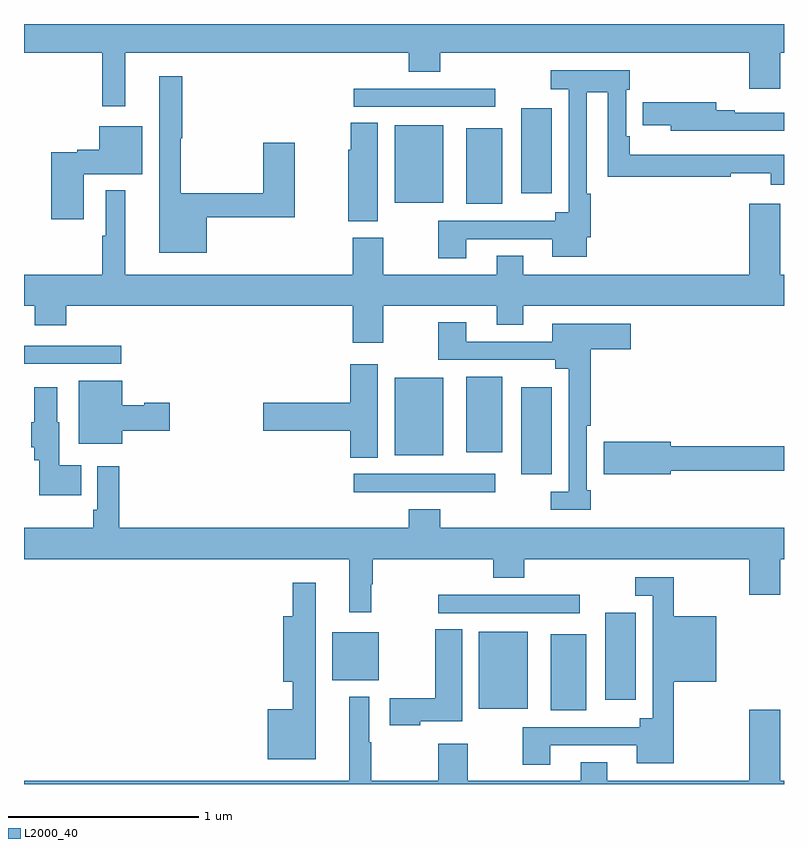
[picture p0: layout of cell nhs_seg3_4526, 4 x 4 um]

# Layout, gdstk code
import gdstk
lib = gdstk.Library(unit=1e-6, precision=1e-09)
def R(c, l, rs):  # rectangles x0, y0, x1, y1
    for r in rs: c.add(gdstk.rectangle(r[:2], r[2:], *l))
def P(c, l, *ps):  # polygons
    for p in ps: c.add(gdstk.Polygon(p, *l))
L2000_40 = (2000, 40)

nhs_seg3_4526 = lib.new_cell('nhs_seg3_4526')
R(nhs_seg3_4526, L2000_40, [(355.772,698.789,355.96,699.187), (355.394,698.795,355.651,699.202), (356.06,698.844,356.221,699.301), (354.623,698.945,354.868,699.199), (355.179,699.3,355.924,699.396), (354.735,699.936,355.48,700.032), (355.616,700.031,355.777,700.489), (354.95,700.13,355.207,700.537), (355.328,700.145,355.516,700.543), (353,700.611,353.512,700.707), (355.328,701.453,355.516,701.851), (354.95,701.459,355.207,701.866), (355.616,701.508,355.777,701.956), (354.735,701.964,355.48,702.06)])
P(nhs_seg3_4526, L2000_40, [(353.533,702.248),(355.025,702.248),(355.025,702.149),(355.19,702.149),(355.19,702.248),(356.816,702.248),(356.816,702.06),(356.98,702.06),(356.98,702.248),(357,702.248),(357,702.4),(353,702.4),(353,702.248),(353.412,702.248),(353.412,701.967),(353.533,701.967)],
  [(355.327,701.268),(355.781,701.268),(355.781,701.174),(355.963,701.174),(355.963,701.278),(355.982,701.278),(355.982,701.506),(355.962,701.506),(355.962,702.04),(356.073,702.04),(356.073,701.596),(356.72,701.596),(356.72,701.615),(356.93,701.615),(356.93,701.554),(357,701.554),(357,701.712),(356.189,701.712),(356.189,701.809),(356.169,701.809),(356.169,702.053),(356.189,702.053),(356.189,702.156),(355.773,702.156),(355.773,702.056),(355.866,702.056),(355.866,701.41),(355.796,701.41),(355.796,701.364),(355.18,701.364),(355.18,701.166),(355.327,701.166)],
  [(353.962,701.382),(354.424,701.382),(354.424,701.776),(354.259,701.776),(354.259,701.51),(353.825,701.51),(353.825,701.799),(353.833,701.799),(353.833,702.124),(353.711,702.124),(353.711,701.195),(353.962,701.195)],
  [(357,701.934),(356.74,701.934),(356.74,701.947),(356.644,701.947),(356.644,701.989),(356.256,701.989),(356.256,701.867),(356.405,701.867),(356.405,701.838),(357,701.838)],
  [(354.862,701.879),(354.721,701.879),(354.721,701.739),(354.707,701.739),(354.707,701.363),(354.862,701.363)],
  [(353.314,701.609),(353.623,701.609),(353.623,701.863),(353.396,701.863),(353.396,701.738),(353.28,701.738),(353.28,701.725),(353.144,701.725),(353.144,701.373),(353.314,701.373)],
  [(354.891,700.916),(355.487,700.916),(355.487,700.817),(355.627,700.817),(355.627,700.916),(357,700.916),(357,701.08),(356.98,701.08),(356.98,701.455),(356.816,701.455),(356.816,701.08),(355.627,701.08),(355.627,701.179),(355.487,701.179),(355.487,701.08),(354.891,701.08),(354.891,701.275),(354.731,701.275),(354.731,701.08),(353.533,701.08),(353.533,701.524),(353.429,701.524),(353.429,701.285),(353.412,701.285),(353.412,701.08),(353,701.08),(353,700.916),(353.057,700.916),(353.057,700.814),(353.222,700.814),(353.222,700.916),(354.731,700.916),(354.731,700.722),(354.891,700.722)],
  [(355.982,699.946),(355.962,699.946),(355.962,700.285),(355.982,700.285),(355.982,700.688),(356.194,700.688),(356.194,700.822),(355.781,700.822),(355.781,700.728),(355.327,700.728),(355.327,700.831),(355.18,700.831),(355.18,700.632),(355.796,700.632),(355.796,700.586),(355.866,700.586),(355.866,699.939),(355.773,699.939),(355.773,699.843),(355.982,699.843)],
  [(354.862,700.609),(354.716,700.609),(354.716,700.406),(354.258,700.406),(354.258,700.259),(354.716,700.259),(354.716,700.117),(354.862,700.117)],
  [(353.518,700.259),(353.767,700.259),(353.767,700.406),(353.634,700.406),(353.634,700.393),(353.518,700.393),(353.518,700.522),(353.288,700.522),(353.288,700.19),(353.518,700.19)],
  [(353.3,700.078),(353.185,700.078),(353.185,700.305),(353.176,700.305),(353.176,700.489),(353.054,700.489),(353.054,700.305),(353.039,700.305),(353.039,700.173),(353.054,700.173),(353.054,700.104),(353.081,700.104),(353.081,699.92),(353.3,699.92)],
  [(356.404,700.05),(357,700.05),(357,700.178),(356.404,700.178),(356.404,700.202),(356.052,700.202),(356.052,700.031),(356.404,700.031)],
  [(354.827,699.452),(354.835,699.452),(354.835,699.584),(355.469,699.584),(355.469,699.485),(355.634,699.485),(355.634,699.584),(356.816,699.584),(356.816,699.396),(356.98,699.396),(356.98,699.584),(357,699.584),(357,699.748),(355.19,699.748),(355.19,699.847),(355.025,699.847),(355.025,699.748),(353.501,699.748),(353.501,700.072),(353.385,700.072),(353.385,699.844),(353.365,699.844),(353.365,699.748),(353,699.748),(353,699.584),(354.713,699.584),(354.713,699.303),(354.827,699.303)],
  [(355.771,698.604),(356.225,698.604),(356.225,698.51),(356.419,698.51),(356.419,698.939),(356.644,698.939),(356.644,699.283),(356.419,699.283),(356.419,699.489),(356.217,699.489),(356.217,699.392),(356.309,699.392),(356.309,699.043),(356.31,699.043),(356.31,698.746),(356.24,698.746),(356.24,698.7),(355.624,698.7),(355.624,698.502),(355.771,698.502)],
  [(354.535,699.46),(354.414,699.46),(354.414,699.283),(354.365,699.283),(354.365,698.939),(354.414,698.939),(354.414,698.794),(354.284,698.794),(354.284,698.531),(354.535,698.531)],
  [(355.086,698.729),(355.306,698.729),(355.306,699.215),(355.165,699.215),(355.165,698.852),(354.924,698.852),(354.924,698.71),(355.086,698.71)],
  [(357,698.416),(356.98,698.416),(356.98,698.791),(356.816,698.791),(356.816,698.416),(356.071,698.416),(356.071,698.515),(355.931,698.515),(355.931,698.416),(355.335,698.416),(355.335,698.611),(355.18,698.611),(355.18,698.416),(354.827,698.416),(354.827,698.621),(354.817,698.621),(354.817,698.86),(354.713,698.86),(354.713,698.416),(353,698.416),(353,698.4),(357,698.4)])

lib.write_gds('nhs_seg3_4526.gds')
